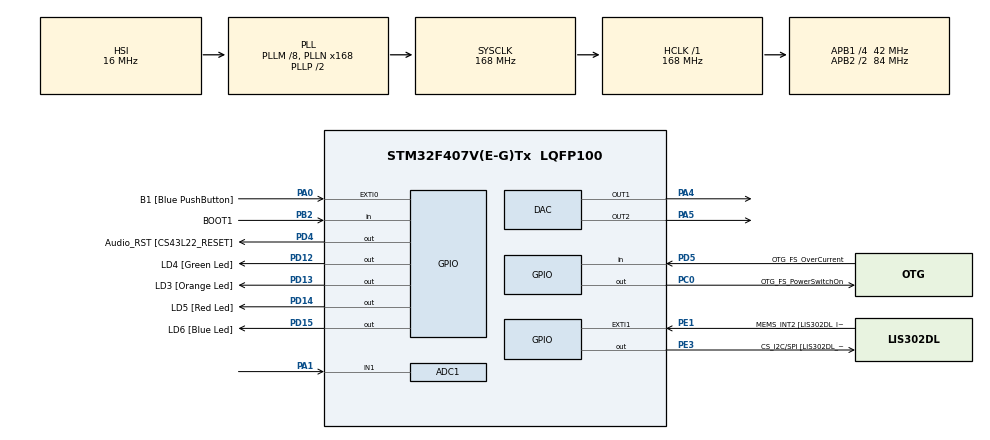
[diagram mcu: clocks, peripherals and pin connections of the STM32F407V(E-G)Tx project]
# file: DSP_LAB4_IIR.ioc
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ADC1.Channel-0\#ChannelRegularConversion=ADC_CHANNEL_1
ADC1.ClockPrescaler=ADC_CLOCK_SYNC_PCLK_DIV4
ADC1.ExternalTrigConv=ADC_EXTERNALTRIGCONV_T2_TRGO
ADC1.NbrOfConversionFlag=1
ADC1.Rank-0\#ChannelRegularConversion=1
ADC1.SamplingTime-0\#ChannelRegularConversion=ADC_SAMPLETIME_3CYCLES
ADC1.master=1
DAC.DAC_Trigger=DAC_TRIGGER_T2_TRGO
DAC.DAC_Trigger2=DAC_TRIGGER_T2_TRGO
Mcu.Family=STM32F4
Mcu.Name=STM32F407V(E-G)Tx
Mcu.Package=LQFP100
NVIC.PriorityGroup=NVIC_PRIORITYGROUP_0
NVIC.TIM2_IRQn=true\:0\:0\:false\:false\:true\:true\:true\:true
NVIC.TIM6_DAC_IRQn=true\:0\:0\:false\:false\:true\:true\:true\:true
PA0-WKUP.GPIO_Label=B1 [Blue PushButton]
PA0-WKUP.Signal=GPXTI0
PA1.Signal=ADCx_IN1
PA10.GPIO_Label=OTG_FS_ID
PA10.GPIO_Mode=GPIO_MODE_AF_PP
PA10.GPIO_PuPd=GPIO_NOPULL
PA10.GPIO_Speed=GPIO_SPEED_FREQ_LOW
PA10.Signal=USB_OTG_FS_ID
PA11.GPIO_Label=OTG_FS_DM
PA11.GPIO_Mode=GPIO_MODE_AF_PP
PA11.GPIO_PuPd=GPIO_NOPULL
PA11.GPIO_Speed=GPIO_SPEED_FREQ_LOW
PA11.Signal=USB_OTG_FS_DM
PA12.GPIO_Label=OTG_FS_DP
PA12.GPIO_Mode=GPIO_MODE_AF_PP
PA12.GPIO_PuPd=GPIO_NOPULL
PA12.GPIO_Speed=GPIO_SPEED_FREQ_LOW
PA12.Signal=USB_OTG_FS_DP
PA13.GPIO_Label=SWDIO
PA13.Signal=SYS_JTMS-SWDIO
PA14.GPIO_Label=SWCLK
PA14.Signal=SYS_JTCK-SWCLK
PA4.Signal=COMP_DAC1_group
PA5.Signal=COMP_DAC2_group
PA6.GPIO_Label=SPI1_MISO [LIS302DL_SDO]
PA6.GPIO_Mode=GPIO_MODE_AF_PP
PA6.GPIO_PuPd=GPIO_NOPULL
PA6.GPIO_Speed=GPIO_SPEED_FREQ_LOW
PA6.Signal=SPI1_MISO
PA7.GPIO_Label=SPI1_MOSI [LIS302DL_SDA/SDI/SDO]
PA7.GPIO_Mode=GPIO_MODE_AF_PP
PA7.GPIO_PuPd=GPIO_NOPULL
PA7.GPIO_Speed=GPIO_SPEED_FREQ_LOW
PA7.Signal=SPI1_MOSI
PA9.GPIO_Label=VBUS_FS
PA9.GPIO_Mode=GPIO_MODE_INPUT
PA9.GPIO_PuPd=GPIO_NOPULL
PA9.Signal=USB_OTG_FS_VBUS
PB10.GPIO_Label=CLK_IN [MP45DT02_CLK]
PB10.GPIO_Mode=GPIO_MODE_AF_PP
PB10.GPIO_PuPd=GPIO_NOPULL
PB10.GPIO_Speed=GPIO_SPEED_FREQ_LOW
PB10.Signal=I2S2_CK
PB2.GPIO_Label=BOOT1
PB2.GPIO_Mode=GPIO_MODE_INPUT
PB2.GPIO_PuPd=GPIO_NOPULL
PB2.Signal=GPIO_Input
PB3.GPIO_Label=SWO
PB3.Signal=SYS_JTDO-SWO
PB6.GPIO_Label=Audio_SCL [CS43L22_SCL]
PB6.GPIO_Mode=GPIO_MODE_AF_OD
PB6.GPIO_PuPd=GPIO_NOPULL
PB6.GPIO_Speed=GPIO_SPEED_FREQ_LOW
PB6.Signal=I2C1_SCL
PB9.GPIO_Label=Audio_SDA [CS43L22_SDA]
PB9.GPIO_Mode=GPIO_MODE_AF_OD
PB9.GPIO_PuPd=GPIO_NOPULL
PB9.GPIO_Speed=GPIO_SPEED_FREQ_LOW
PB9.Signal=I2C1_SDA
PC0.GPIO_Label=OTG_FS_PowerSwitchOn
PC0.GPIO_PuPd=GPIO_NOPULL
PC0.GPIO_Speed=GPIO_SPEED_FREQ_LOW
PC0.PinState=GPIO_PIN_SET
PC0.Signal=GPIO_Output
PC10.GPIO_Label=I2S3_SCK [CS43L22_SCLK]
PC10.GPIO_Mode=GPIO_MODE_AF_PP
PC10.GPIO_PuPd=GPIO_NOPULL
PC10.GPIO_Speed=GPIO_SPEED_FREQ_LOW
PC10.Signal=I2S3_CK
PC12.GPIO_Label=I2S3_SD [CS43L22_SDIN]
PC12.GPIO_Mode=GPIO_MODE_AF_PP
PC12.GPIO_PuPd=GPIO_NOPULL
PC12.GPIO_Speed=GPIO_SPEED_FREQ_LOW
PC12.Signal=I2S3_SD
PC14-OSC32_IN.GPIO_Label=PC14-OSC32_IN
PC14-OSC32_IN.Signal=RCC_OSC32_IN
PC15-OSC32_OUT.GPIO_Label=PC15-OSC32_OUT
PC15-OSC32_OUT.Signal=RCC_OSC32_OUT
PC3.GPIO_Label=PDM_OUT [MP45DT02_DOUT]
PC3.GPIO_Mode=GPIO_MODE_AF_PP
PC3.GPIO_PuPd=GPIO_NOPULL
PC3.GPIO_Speed=GPIO_SPEED_FREQ_LOW
PC3.Signal=I2S2_SD
PC7.GPIO_Label=I2S3_MCK [CS43L22_MCLK]
PC7.GPIO_Mode=GPIO_MODE_AF_PP
PC7.GPIO_PuPd=GPIO_NOPULL
PC7.GPIO_Speed=GPIO_SPEED_FREQ_LOW
PC7.Signal=I2S3_MCK
PD12.GPIO_Label=LD4 [Green Led]
PD12.GPIO_PuPd=GPIO_NOPULL
PD12.GPIO_Speed=GPIO_SPEED_FREQ_LOW
PD12.Signal=GPIO_Output
PD13.GPIO_Label=LD3 [Orange Led]
PD13.GPIO_PuPd=GPIO_NOPULL
PD13.GPIO_Speed=GPIO_SPEED_FREQ_LOW
PD13.Signal=GPIO_Output
PD14.GPIO_Label=LD5 [Red Led]
PD14.GPIO_PuPd=GPIO_NOPULL
PD14.GPIO_Speed=GPIO_SPEED_FREQ_LOW
PD14.Signal=GPIO_Output
PD15.GPIO_Label=LD6 [Blue Led]
PD15.GPIO_PuPd=GPIO_NOPULL
PD15.GPIO_Speed=GPIO_SPEED_FREQ_LOW
PD15.Signal=GPIO_Output
PD4.GPIO_Label=Audio_RST [CS43L22_RESET]
PD4.GPIO_PuPd=GPIO_NOPULL
PD4.GPIO_Speed=GPIO_SPEED_FREQ_LOW
PD4.Signal=GPIO_Output
PD5.GPIO_Label=OTG_FS_OverCurrent
PD5.GPIO_Mode=GPIO_MODE_INPUT
PD5.GPIO_PuPd=GPIO_NOPULL
PD5.Signal=GPIO_Input
PE1.GPIO_Label=MEMS_INT2 [LIS302DL_INT2]
PE1.GPIO_ModeDefaultEXTI=GPIO_MODE_EVT_RISING
PE1.GPIO_PuPd=GPIO_NOPULL
PE1.Signal=GPXTI1
PE3.GPIO_Label=CS_I2C/SPI [LIS302DL_CS_I2C/SPI]
PE3.GPIO_PuPd=GPIO_NOPULL
PE3.GPIO_Speed=GPIO_SPEED_FREQ_LOW
PE3.Signal=GPIO_Output
PH0-OSC_IN.GPIO_Label=PH0-OSC_IN
PH0-OSC_IN.Signal=RCC_OSC_IN
PH1-OSC_OUT.GPIO_Label=PH1-OSC_OUT
PH1-OSC_OUT.Signal=RCC_OSC_OUT
ProjectManager.HeapSize=0x200
ProjectManager.StackSize=0x400
ProjectManager.TargetToolchain=STM32CubeIDE
RCC.48MHZClocksFreq_Value=48000000
RCC.AHBFreq_Value=168000000
RCC.APB1CLKDivider=RCC_HCLK_DIV4
RCC.APB1Freq_Value=42000000
RCC.APB1TimFreq_Value=84000000
RCC.APB2CLKDivider=RCC_HCLK_DIV2
RCC.APB2Freq_Value=84000000
RCC.APB2TimFreq_Value=168000000
RCC.CortexFreq_Value=168000000
RCC.HCLKFreq_Value=168000000
RCC.HSE_VALUE=8000000
RCC.HSI_VALUE=16000000
RCC.LSE_VALUE=32768
RCC.PLLM=8
RCC.PLLN=168
RCC.PLLQ=7
RCC.SYSCLKFreq_VALUE=168000000
RCC.SYSCLKSource=RCC_SYSCLKSOURCE_PLLCLK
RCC.VCOOutputFreq_Value=336000000
SH.ADCx_IN1.0=ADC1_IN1,IN1
SH.COMP_DAC1_group.0=DAC_OUT1,DAC_OUT1
SH.COMP_DAC2_group.0=DAC_OUT2,DAC_OUT2
TIM2.Period=9
TIM2.Prescaler=83
TIM2.TIM_MasterOutputTrigger=TIM_TRGO_UPDATE
VP_TIM2_VS_ClockSourceINT.Mode=Internal
board=STM32F407G-DISC1

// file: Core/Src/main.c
/* USER CODE BEGIN Header */
/**
  ******************************************************************************
  * @file           : main.c
  * @brief          : Main program body
  ******************************************************************************
  * @attention
  *
  * Copyright (c) 2022 STMicroelectronics.
  * All rights reserved.
  *
  * This software is licensed under terms that can be found in the LICENSE file
  * in the root directory of this software component.
  * If no LICENSE file comes with this software, it is provided AS-IS.
  *
  ******************************************************************************
  */
/* USER CODE END Header */
#include "main.h"
#include "adc.h"
#include "dac.h"
#include "tim.h"
#include "gpio.h"

void SystemClock_Config(void);

/* USER CODE BEGIN 0 */
#define BUFFER_SIZE 1024
#define F_SAMPLE 100000
float phaseStep = 0;

#define FILTER_SIZE 5
float b_filter[FILTER_SIZE] = {0.0164, -0.0872, 1.1451, -0.0872, 0.0164};
float a_filter[FILTER_SIZE] = {1, -0.0872, 1.1451, -0.0872, 0.0164};

float historic_input_vector[FILTER_SIZE-1] = {0, 0, 0, 0};
float historic_output_vector[FILTER_SIZE-1] = {0, 0, 0, 0};
float DAC_Array[BUFFER_SIZE];
float IIR_Array[BUFFER_SIZE];
int DAC_index = 0;

void IIRfilter()
{
	float sum = DAC_Array[DAC_index]*b_filter[0];
	for (int i=0; i<FILTER_SIZE-1 ; i++)
	{
		sum += historic_input_vector[i]*b_filter[i+1];
	}
    sum *= a_filter[0];

	for (int i=0; i<FILTER_SIZE-1 ; i++)
	{
		sum += historic_output_vector[i]*a_filter[i+1];
	}
	IIR_Array[DAC_index] = sum;
}

void update_historical()
{
	for (int i = FILTER_SIZE-2 ; i>0 ; i--)
	{
		historic_input_vector[i] = historic_input_vector[i-1];
	}
    historic_input_vector[0] = DAC_Array[DAC_index];

	for (int i = FILTER_SIZE-2 ; i>0 ; i--)
	{
		historic_output_vector[i] = historic_output_vector[i-1];
	}
    historic_output_vector[0] = IIR_Array[DAC_index];
}

void HAL_TIM_PeriodElapsedCallback(TIM_HandleTypeDef* htim)
{
	DAC_Array[DAC_index] = HAL_ADC_GetValue(&hadc1);
    update_historical();
    IIRfilter();

    HAL_DAC_SetValue(&hdac, DAC_CHANNEL_1, DAC_ALIGN_12B_L, DAC_Array[DAC_index]);
    HAL_DAC_SetValue(&hdac, DAC_CHANNEL_2, DAC_ALIGN_12B_L, IIR_Array[DAC_index]);

    DAC_index++;
    if(DAC_index == BUFFER_SIZE)
    {
    	DAC_index=0;
    }
}

/* USER CODE END 0 */

int main(void)
{

  /* MCU Configuration--------------------------------------------------------*/

  /* Reset of all peripherals, Initializes the Flash interface and the Systick. */
  HAL_Init();

  /* Configure the system clock */
  SystemClock_Config();

  /* Initialize all configured peripherals */
  MX_GPIO_Init();
  MX_ADC1_Init();
  MX_DAC_Init();
  MX_TIM2_Init();
  /* USER CODE BEGIN 2 */
  HAL_TIM_Base_Start_IT(&htim2) ;
  HAL_ADC_Start(&hadc1);
  HAL_DAC_Start(&hdac, DAC_CHANNEL_2);
  HAL_DAC_Start(&hdac, DAC_CHANNEL_1);
  for (int i=0 ; i<BUFFER_SIZE ; i++)
  {
	  DAC_Array[i] = 0;
	  IIR_Array[i] = 0;
  }
  /* USER CODE END 2 */

  /* Infinite loop */
  while (1)
  {

  }
}

void SystemClock_Config(void)
{
  RCC_OscInitTypeDef RCC_OscInitStruct = {0};
  RCC_ClkInitTypeDef RCC_ClkInitStruct = {0};

  /** Configure the main internal regulator output voltage
  */
  __HAL_RCC_PWR_CLK_ENABLE();
  __HAL_PWR_VOLTAGESCALING_CONFIG(PWR_REGULATOR_VOLTAGE_SCALE1);

  /** Initializes the RCC Oscillators according to the specified parameters
  * in the RCC_OscInitTypeDef structure.
  */
  RCC_OscInitStruct.OscillatorType = RCC_OSCILLATORTYPE_HSI;
  RCC_OscInitStruct.HSIState = RCC_HSI_ON;
  RCC_OscInitStruct.HSICalibrationValue = RCC_HSICALIBRATION_DEFAULT;
  RCC_OscInitStruct.PLL.PLLState = RCC_PLL_ON;
  RCC_OscInitStruct.PLL.PLLSource = RCC_PLLSOURCE_HSI;
  RCC_OscInitStruct.PLL.PLLM = 8;
  RCC_OscInitStruct.PLL.PLLN = 168;
  RCC_OscInitStruct.PLL.PLLP = RCC_PLLP_DIV2;
  RCC_OscInitStruct.PLL.PLLQ = 7;
  if (HAL_RCC_OscConfig(&RCC_OscInitStruct) != HAL_OK)
  {
    Error_Handler();
  }

  /** Initializes the CPU, AHB and APB buses clocks
  */
  RCC_ClkInitStruct.ClockType = RCC_CLOCKTYPE_HCLK|RCC_CLOCKTYPE_SYSCLK
                              |RCC_CLOCKTYPE_PCLK1|RCC_CLOCKTYPE_PCLK2;
  RCC_ClkInitStruct.SYSCLKSource = RCC_SYSCLKSOURCE_PLLCLK;
  RCC_ClkInitStruct.AHBCLKDivider = RCC_SYSCLK_DIV1;
  RCC_ClkInitStruct.APB1CLKDivider = RCC_HCLK_DIV4;
  RCC_ClkInitStruct.APB2CLKDivider = RCC_HCLK_DIV2;

  if (HAL_RCC_ClockConfig(&RCC_ClkInitStruct, FLASH_LATENCY_5) != HAL_OK)
  {
    Error_Handler();
  }
}

void Error_Handler(void)
{
  __disable_irq();
  while (1)
  {
  }
}
